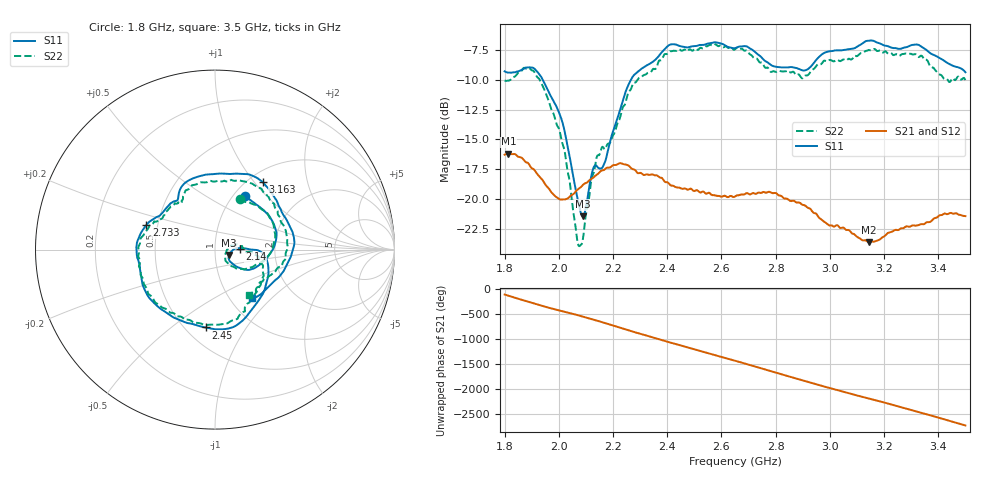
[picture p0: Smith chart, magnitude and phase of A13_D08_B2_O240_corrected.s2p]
! Created with skrf 1.9.0 (http://scikit-rf.org).
# Hz S RI R 50.0
!freq ReS11 ImS11 ReS21 ImS21 ReS12 ImS12 ReS22 ImS22
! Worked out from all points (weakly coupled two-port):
!   1601 points, 1.8 GHz to 3.5 GHz, reference 50 ohm
!   highest |S21| = -16.22 dB at 1.814 GHz (marker M1); lowest = -23.6 dB at 3.144 GHz (marker M2)
!   lowest |S11| = -21.5 dB at 2.089 GHz (marker M3), VSWR 1.18, Z = 58.4 - j3.54 ohm
!   |S11| at or under -10 dB: 1.941 GHz to 2.266 GHz (324.8 MHz wide, 15.4 % of centre)
!   |S22| runs from -24.0 to -7.0 dB; largest |S21 - S12| = 0.0031
!   S11 on the Smith chart (normalised r, x): 1.8 GHz: 1.12, +0.76; 2.14 GHz: 1.32, +0.01; 2.45 GHz: 0.62, -0.67; 2.733 GHz: 0.43, +0.14; 3.163 GHz: 1.16, +1.11; 3.5 GHz: 1.26, -0.77
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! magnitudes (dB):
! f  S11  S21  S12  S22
! 1.8 GHz  -9.3  -16.3  -16.3  -10.0
! 1.814 GHz  -9.4  -16.2  -16.2  -10.1
! 1.887 GHz  -9.0  -17.0  -17.1  -9.0
! 1.941 GHz  -10.0  -18.5  -18.5  -10.6
! 2.013 GHz  -13.5  -20.1  -20.1  -15.3
! 2.068 GHz  -19.8  -19.3  -19.3  -23.5
! 2.084 GHz  -21.3  -19.0  -18.9  -23.8
! 2.089 GHz  -21.5  -18.8  -18.9  -23.4
! 2.14 GHz  -17.3  -18.0  -18.0  -16.5
! 2.168 GHz  -17.1  -17.6  -17.6  -15.8
! 2.266 GHz  -10.0  -17.4  -17.4  -10.8
! 2.367 GHz  -8.0  -18.1  -18.1  -8.5
! 2.45 GHz  -7.2  -19.1  -19.1  -7.5
! 2.65 GHz  -7.3  -19.8  -19.8  -7.4
! 2.733 GHz  -7.8  -19.5  -19.5  -8.3
! 2.934 GHz  -8.8  -21.0  -21.0  -9.2
! 3.144 GHz  -6.7  -23.6  -23.6  -7.5
! 3.163 GHz  -6.7  -23.6  -23.6  -7.4
! 3.217 GHz  -7.2  -22.8  -22.8  -7.8
! 3.326 GHz  -7.1  -22.2  -22.2  -8.1
! 3.435 GHz  -8.6  -21.3  -21.2  -10.0
! 3.5 GHz  -9.4  -21.5  -21.5  -10.0
